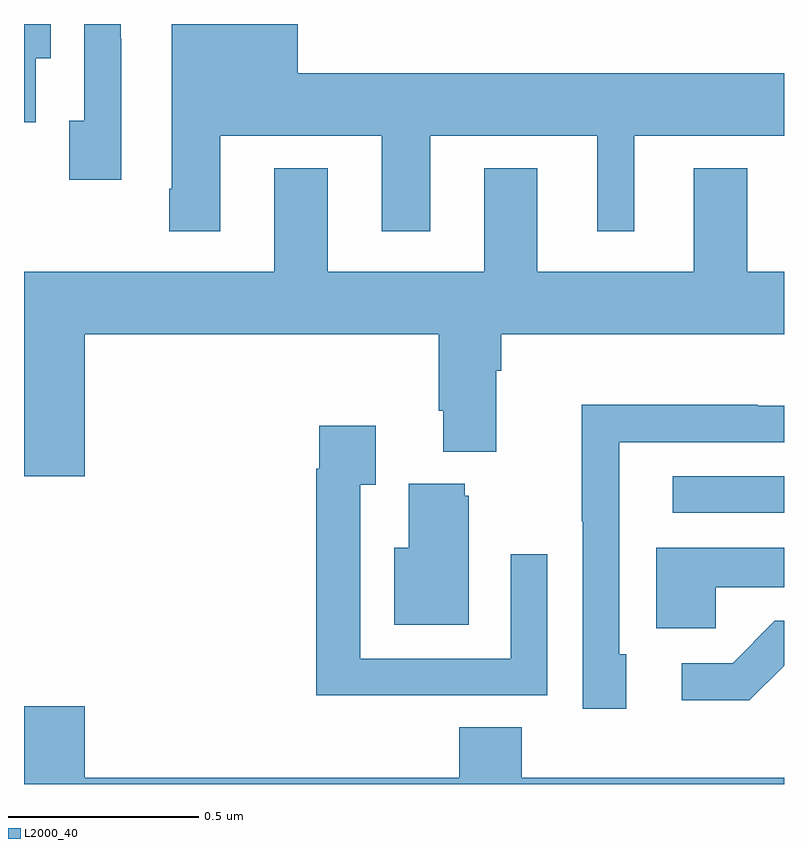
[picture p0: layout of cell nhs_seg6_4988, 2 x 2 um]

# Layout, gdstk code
import gdstk
lib = gdstk.Library(unit=1e-6, precision=1e-09)
def R(c, l, rs):  # rectangles x0, y0, x1, y1
    for r in rs: c.add(gdstk.rectangle(r[:2], r[2:], *l))
def P(c, l, *ps):  # polygons
    for p in ps: c.add(gdstk.Polygon(p, *l))
L2000_40 = (2000, 40)

nhs_seg6_4988 = lib.new_cell('nhs_seg6_4988')
R(nhs_seg6_4988, L2000_40, [(178.707,932.214,179,932.31)])
P(nhs_seg6_4988, L2000_40, [(177.031,933.41),(177.07,933.41),(177.07,933.5),(177,933.5),(177,933.242),(177.031,933.242)],
  [(177.256,933.461),(177.255,933.461),(177.255,933.5),(177.159,933.5),(177.159,933.246),(177.119,933.246),(177.119,933.09),(177.256,933.09)],
  [(177.517,933.206),(177.941,933.206),(177.941,932.955),(178.069,932.955),(178.069,933.206),(178.508,933.206),(178.508,932.955),(178.606,932.955),(178.606,933.206),(179,933.206),(179,933.37),(177.721,933.37),(177.721,933.5),(177.389,933.5),(177.389,933.067),(177.382,933.067),(177.382,932.955),(177.517,932.955)],
  [(178.763,933.121),(178.763,932.848),(178.351,932.848),(178.351,933.121),(178.211,933.121),(178.211,932.848),(177.799,932.848),(177.799,933.121),(177.659,933.121),(177.659,932.848),(177,932.848),(177,932.31),(177.16,932.31),(177.16,932.684),(178.091,932.684),(178.091,932.482),(178.103,932.482),(178.103,932.375),(178.243,932.375),(178.243,932.588),(178.256,932.588),(178.256,932.684),(179,932.684),(179,932.848),(178.903,932.848),(178.903,933.121)],
  [(178.585,931.842),(178.566,931.842),(178.566,932.149),(178.567,932.149),(178.567,932.4),(179,932.4),(179,932.496),(178.931,932.496),(178.931,932.498),(178.468,932.498),(178.468,932.191),(178.47,932.191),(178.47,931.698),(178.585,931.698)],
  [(178.061,931.734),(178.377,931.734),(178.377,932.104),(178.281,932.104),(178.281,931.83),(177.885,931.83),(177.885,932.287),(177.925,932.287),(177.925,932.443),(177.777,932.443),(177.777,932.33),(177.769,932.33),(177.769,931.733),(178.061,931.733)],
  [(178.171,932.259),(178.16,932.259),(178.16,932.29),(178.013,932.29),(178.013,932.122),(177.974,932.122),(177.974,931.919),(178.171,931.919)],
  [(178.821,932.018),(179,932.018),(179,932.122),(178.664,932.122),(178.664,931.91),(178.821,931.91)],
  [(179,931.811),(179,931.929),(178.976,931.929),(178.865,931.818),(178.731,931.818),(178.731,931.721),(178.909,931.721)],
  [(179,931.516),(178.31,931.516),(178.31,931.649),(178.145,931.649),(178.145,931.516),(177.16,931.516),(177.16,931.705),(177,931.705),(177,931.5),(179,931.5)])

lib.write_gds('nhs_seg6_4988.gds')
